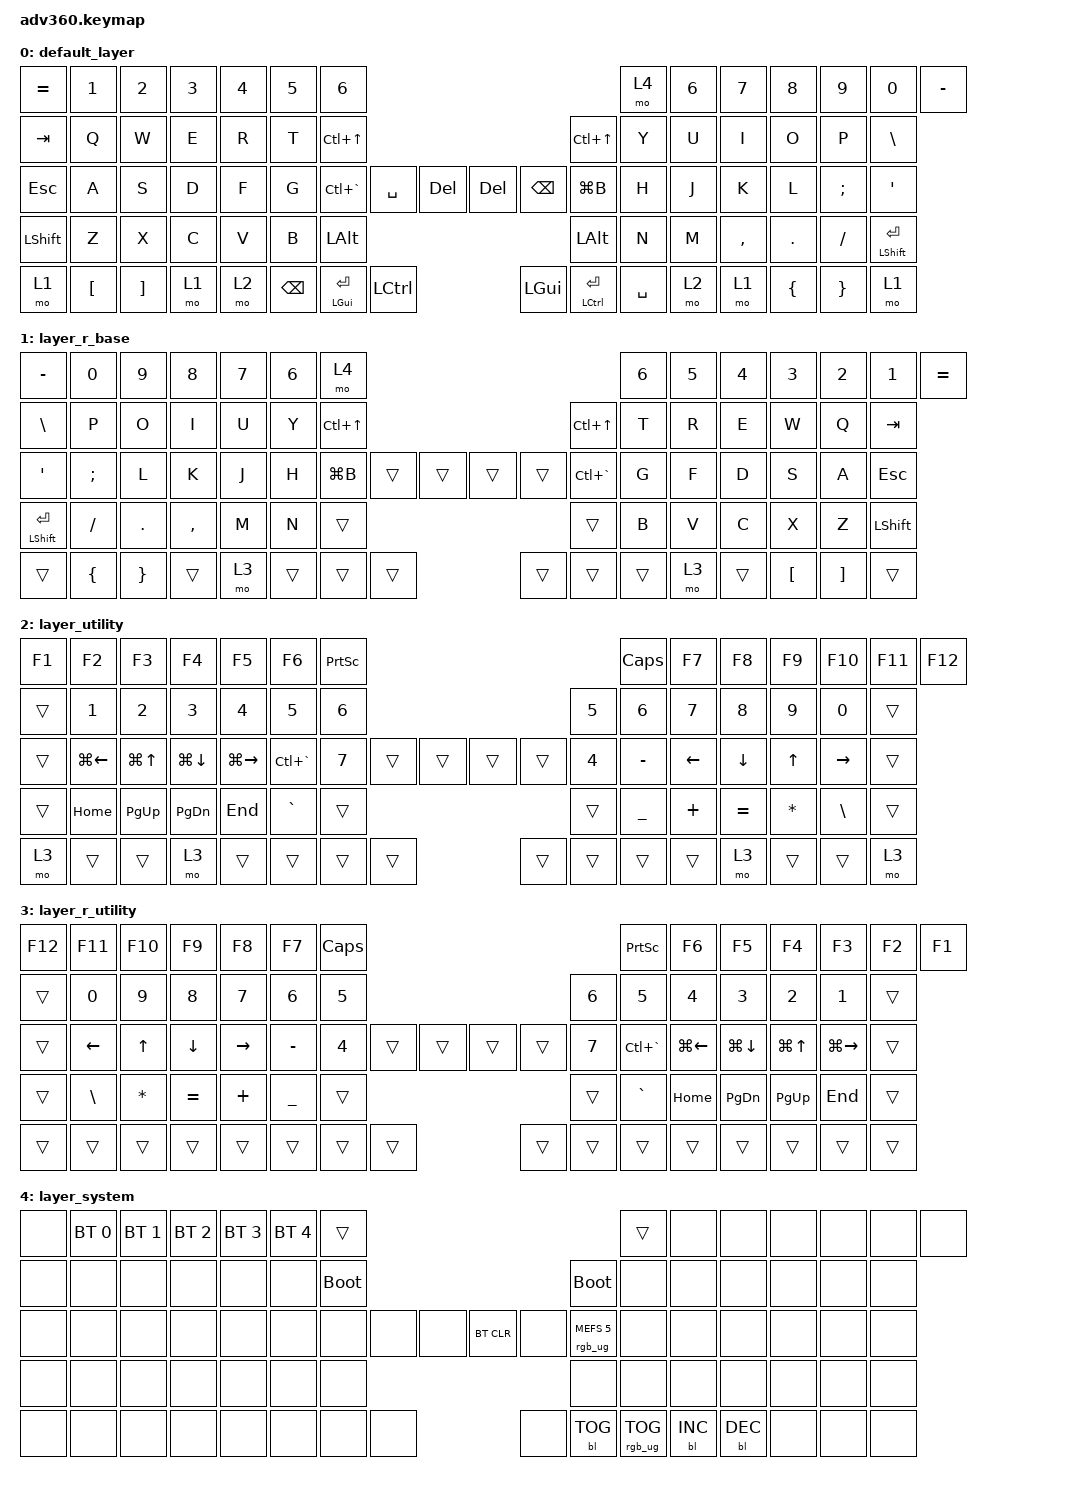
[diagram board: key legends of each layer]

/*
 * Copyright (c) 2020 The ZMK Contributors
 *
 * SPDX-License-Identifier: MIT
 */


/* THIS FILE WAS GENERATED!
 *
 * This file was generated automatically. You may or may not want to
 * edit it directly.
 */

#include <behaviors.dtsi>
#include <dt-bindings/zmk/keys.h>
#include <dt-bindings/zmk/bt.h>
#include <dt-bindings/zmk/rgb.h>
#include <dt-bindings/zmk/backlight.h>

/ {
  behaviors {
    #include "macros.dtsi"
    #include "version.dtsi"

    hm: homerow_mods {
        compatible = "zmk,behavior-hold-tap";
        label = "HOMEROW_MODS";
        #binding-cells = <2>;
        tapping-term-ms = <200>;
        quick_tap_ms = <175>;
        flavor = "tap-preferred";
        bindings = <&kp>, <&kp>;
    };
  };

    keymap {
        compatible = "zmk,keymap";


        default_layer {
            bindings = <
 &kp EQUAL            &kp N1    &kp N2  &kp N3  &kp N4  &kp N5                   &kp N6                                                                                        &mo 4  &kp N6  &kp N7     &kp N8    &kp N9    &kp N0        &kp MINUS
   &kp TAB             &kp Q     &kp W   &kp E   &kp R   &kp T               &kp LC(UP)                                                                                   &kp LC(UP)   &kp Y   &kp U      &kp I     &kp O     &kp P         &kp BSLH
   &kp ESC             &kp A     &kp S   &kp D   &kp F   &kp G            &kp LC(GRAVE)           &kp SPACE       &kp DEL                       &kp DEL         &kp BSPC   &kp LG(B)   &kp H   &kp J      &kp K     &kp L  &kp SEMI          &kp SQT
 &kp LSHFT             &kp Z     &kp X   &kp C   &kp V   &kp B                                               &kp LEFT_ALT                  &kp LEFT_ALT                                &kp N   &kp M  &kp COMMA   &kp DOT  &kp FSLH  &mt LSHFT ENTER
     &mo 1  &kp LEFT_BRACKET  &kp RBKT   &mo 1   &mo 2                         &kp BSPC  &mt LEFT_GUI ENTER     &kp LCTRL                      &kp LGUI  &mt LCTRL ENTER   &kp SPACE           &mo 2      &mo 1  &kp LBRC  &kp RBRC            &mo 1
            >;
        };

        layer_r_base {
            bindings = <
            &kp MINUS         &kp N0    &kp N9     &kp N8  &kp N7  &kp N6                 &mo 4                                                   &kp NUMBER_6  &kp N5  &kp N4  &kp N3    &kp N2    &kp N1       &kp EQUAL
             &kp BSLH          &kp P     &kp O      &kp I   &kp U   &kp Y            &kp LC(UP)                                                     &kp LC(UP)   &kp T   &kp R   &kp E     &kp W     &kp Q         &kp TAB
             &kp APOS  &kp SEMICOLON     &kp L      &kp K   &kp J   &kp H             &kp LG(B)  &trans  &trans                  &trans  &trans  &kp LC(GRAVE)   &kp G   &kp F   &kp D     &kp S     &kp A         &kp ESC
 &mt LEFT_SHIFT ENTER      &kp SLASH   &kp DOT  &kp COMMA   &kp M   &kp N                                &trans                  &trans                          &kp B   &kp V   &kp C     &kp X     &kp Z  &kp LEFT_SHIFT
               &trans       &kp LBRC  &kp RBRC     &trans   &mo 3                        &trans  &trans  &trans                  &trans  &trans         &trans           &mo 3  &trans  &kp LBKT  &kp RBKT          &trans
            >;
        };

        layer_utility {
            bindings = <
 &kp F1        &kp F2        &kp F3        &kp F4         &kp F5         &kp F6            &kp PRINTSCREEN                                                      &kp CAPS          &kp F7        &kp F8        &kp F9       &kp F10       &kp F11  &kp F12
 &trans  &kp NUMBER_1  &kp NUMBER_2  &kp NUMBER_3   &kp NUMBER_4   &kp NUMBER_5               &kp NUMBER_6                                                  &kp NUMBER_5    &kp NUMBER_6  &kp NUMBER_7  &kp NUMBER_8  &kp NUMBER_9  &kp NUMBER_0   &trans
 &trans  &kp LG(LEFT)    &kp LG(UP)  &kp LG(DOWN)  &kp LG(RIGHT)  &kp LC(GRAVE)               &kp NUMBER_7  &trans  &trans                  &trans  &trans  &kp NUMBER_4       &kp MINUS      &kp LEFT      &kp DOWN        &kp UP     &kp RIGHT   &trans
 &trans      &kp HOME     &kp PG_UP     &kp PG_DN        &kp END      &kp GRAVE                                     &trans                  &trans                        &kp UNDERSCORE      &kp PLUS     &kp EQUAL     &kp ASTRK      &kp BSLH   &trans
  &mo 3        &trans        &trans         &mo 3         &trans                                    &trans  &trans  &trans                  &trans  &trans        &trans                        &trans         &mo 3        &trans        &trans    &mo 3
            >;
        };

        layer_r_utility {
            bindings = <
 &kp F12       &kp F11       &kp F10        &kp F9        &kp F8        &kp F7                &kp CAPS                                                     &kp PSCRN         &kp F6        &kp F5        &kp F4        &kp F3         &kp F2  &kp F1
  &trans  &kp NUMBER_0  &kp NUMBER_9  &kp NUMBER_8  &kp NUMBER_7  &kp NUMBER_6            &kp NUMBER_5                                                  &kp NUMBER_6   &kp NUMBER_5  &kp NUMBER_4  &kp NUMBER_3  &kp NUMBER_2   &kp NUMBER_1  &trans
  &trans      &kp LEFT        &kp UP      &kp DOWN     &kp RIGHT     &kp MINUS            &kp NUMBER_4  &trans  &trans                  &trans  &trans  &kp NUMBER_7  &kp LC(GRAVE)  &kp LG(LEFT)  &kp LG(DOWN)    &kp LG(UP)  &kp LG(RIGHT)  &trans
  &trans      &kp BSLH      &kp STAR     &kp EQUAL      &kp PLUS     &kp UNDER                                  &trans                  &trans                            &kp GRAVE      &kp HOME     &kp PG_DN     &kp PG_UP        &kp END  &trans
  &trans        &trans        &trans        &trans        &trans                                &trans  &trans  &trans                  &trans  &trans        &trans                       &trans        &trans        &trans         &trans  &trans
            >;
        };

        layer_system {
            bindings = <
  &none  &bt BT_SEL 0  &bt BT_SEL 1  &bt BT_SEL 2  &bt BT_SEL 3  &bt BT_SEL 4                 &trans                                                                          &trans   &none       &none       &none   &none   &none   &none
  &none         &none         &none         &none         &none         &none            &bootloader                                                                     &bootloader   &none       &none       &none   &none   &none   &none
  &none         &none         &none         &none         &none         &none                  &none   &none   &none                  &bt BT_CLR       &none  &rgb_ug RGB_MEFS_CMD 5   &none       &none       &none   &none   &none   &none
  &none         &none         &none         &none         &none         &none                                  &none                       &none                                       &none       &none       &none   &none   &none   &none
  &none         &none         &none         &none         &none                                &none   &none   &none                       &none  &bl BL_TOG         &rgb_ug RGB_TOG          &bl BL_INC  &bl BL_DEC   &none   &none   &none
            >;
        };

    };
};
